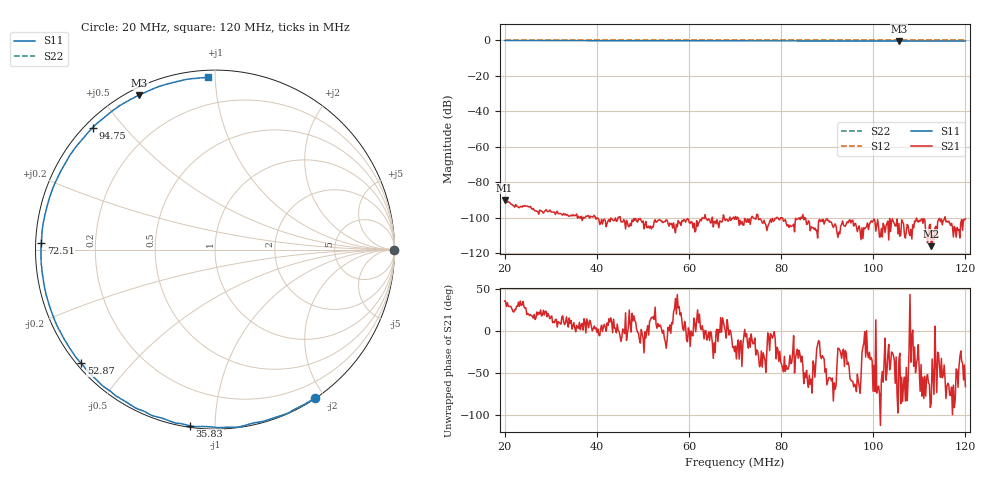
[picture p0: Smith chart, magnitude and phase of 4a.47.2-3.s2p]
! Anritsu VNA Master:  Model: MS2036C/10/77
! SN:  1601066
! /bd0/18may26.balun/4a.47.2.s2p
! Existing Calibration Information:
! TYPE:  Current Settings,  Active Cal Settings
! TIME:  05/26/2018 03:17:24 PM,  05/26/2018 02:51:55 PM
! INTERNAL TEMP:  59.5 C,  59.5 C
! # POINTS:  500,  500
! START FREQ:  20.000 MHz,  20.000 MHz
! STOP FREQ:  120.000 MHz,  120.000 MHz
! SOURCE POWER:  High,  High
! IFBW:  50 Hz,  50 Hz
! AVG FACTOR:  1 ,  1
! REF PLANE 1:  0 mm,  0 mm
! REF PLANE 2:  0 mm,  0 mm
! CAL TYPE:  Full S11,  Full S11
! CAL METHOD:  SOLT,  SOLT
! CAL LINE TYPE:  Coax,  Coax
! DUT PORT 1:  K-Conn(M),  K-Conn(M)
! DUT PORT 2:  K-Conn(M),  K-Conn(M)
! CAL STATUS:  OK: Accuracy High,  --
# GHZ S DB R 50.0
! FREQ.GHZ  S11DB  S11A  S21DB  S21A  S12DB  S12A  S22DB  S22A
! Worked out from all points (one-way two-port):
!   500 points, 20 MHz to 120 MHz, reference 50 ohm
!   highest |S21| = -90.10 dB at 20 MHz (marker M1); lowest = -116.1 dB at 112.6 MHz (marker M2)
!   lowest |S11| = -0.4 dB at 105.6 MHz (marker M3), VSWR 46.20, Z = 1.5 + j31.2 ohm
!   |S11| at or under -10 dB: nowhere
!   |S22| runs from 0.0 to 0.0 dB; largest |S21 - S12| = 1
!   S11 on the Smith chart (normalised r, x): 20 MHz: 0.01, -1.88; 35.83 MHz: 0.01, -0.87; 52.87 MHz: 0.01, -0.37; 72.51 MHz: 0.02, +0.02; 94.75 MHz: 0.02, +0.41; 120 MHz: 0.04, +0.96
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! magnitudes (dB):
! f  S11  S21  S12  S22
! 20 MHz  0.0  -90.1  0.0  0.0
! 23.81 MHz  0.0  -94.1  0.0  0.0
! 27.82 MHz  -0.1  -96.1  0.0  0.0
! 29.82 MHz  0.0  -95.7  0.0  0.0
! 33.63 MHz  -0.1  -98.3  0.0  0.0
! 35.83 MHz  -0.1  -100.4  0.0  0.0
! 36.83 MHz  -0.1  -101.7  0.0  0.0
! 37.84 MHz  -0.1  -99.4  0.0  0.0
! 39.44 MHz  -0.1  -98.7  0.0  0.0
! 43.25 MHz  -0.1  -100.7  0.0  0.0
! 47.25 MHz  -0.2  -103.3  0.0  0.0
! 48.66 MHz  -0.1  -101.9  0.0  0.0
! 52.87 MHz  -0.2  -102.7  0.0  0.0
! 53.47 MHz  -0.2  -101.3  0.0  0.0
! 70.1 MHz  -0.3  -99.4  0.0  0.0
! 72.51 MHz  -0.3  -102.6  0.0  0.0
! 86.73 MHz  -0.3  -105.7  0.0  0.0
! 94.75 MHz  -0.3  -101.6  0.0  0.0
! 103.4 MHz  -0.4  -112.6  0.0  0.0
! 105.6 MHz  -0.4  -103.3  0.0  0.0
! 112.6 MHz  -0.4  -116.1  0.0  0.0
! 120 MHz  -0.3  -100.7  0.0  0.0
